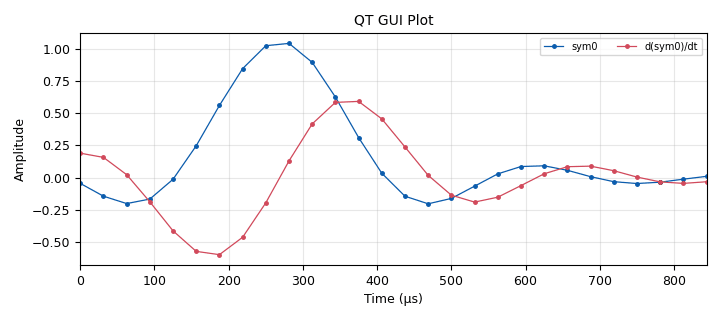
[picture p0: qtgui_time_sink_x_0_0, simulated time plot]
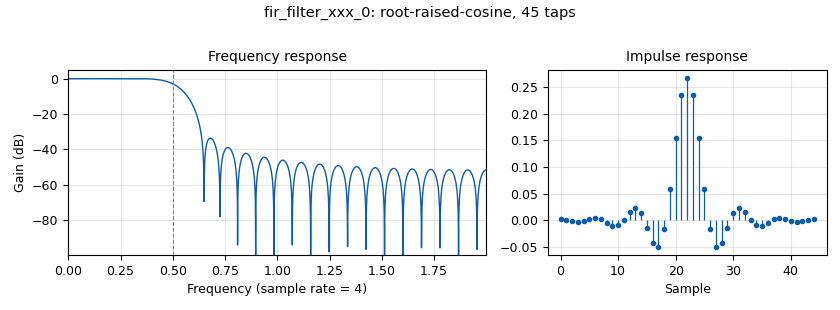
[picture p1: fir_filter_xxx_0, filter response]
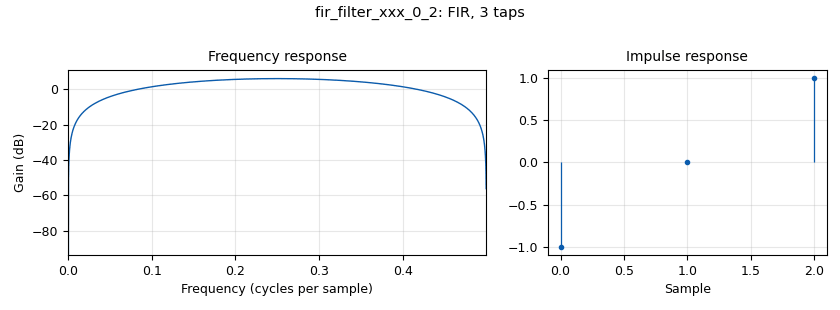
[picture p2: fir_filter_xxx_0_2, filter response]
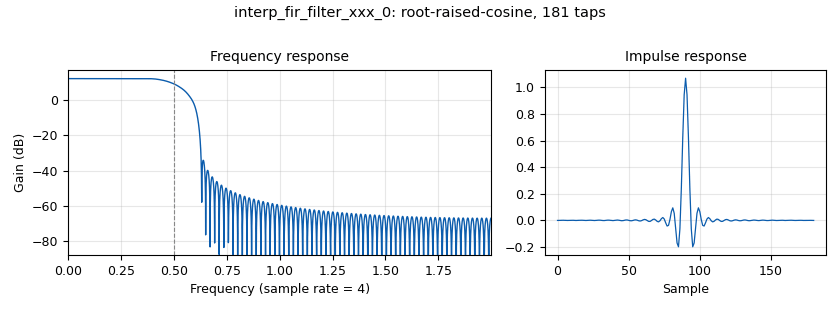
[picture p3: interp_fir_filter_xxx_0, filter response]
<?xml version='1.0' encoding='utf-8'?>
<?grc format='1' created='3.7.10'?>
<flow_graph>
<block>
<key>options</key>
<param><key>id</key><value>symbol_differential_filter</value></param>
<param><key>author</key><value>Alexandros-Apostolos A. Boulogeorgos</value></param>
<param><key>generate_options</key><value>qt_gui</value></param>
<param><key>title</key><value>Symbol differential filter</value></param>
</block>
<block>
<key>variable</key>
<param><key>id</key><value>eb</value></param>
<param><key>value</key><value>0.25</value></param>
</block>
<block>
<key>variable</key>
<param><key>id</key><value>ntaps</value></param>
<param><key>value</key><value>45</value></param>
</block>
<block>
<key>variable</key>
<param><key>id</key><value>rate</value></param>
<param><key>value</key><value>1.2</value></param>
</block>
<block>
<key>variable</key>
<param><key>id</key><value>rrc_rx</value></param>
<param><key>value</key><value>firdes.root_raised_cosine(1.0, sps, 1, eb, ntaps)</value></param>
</block>
<block>
<key>variable</key>
<param><key>id</key><value>rrc_tx</value></param>
<param><key>value</key><value>firdes.root_raised_cosine(sps, sps, 1, eb, sps*ntaps)</value></param>
</block>
<block>
<key>variable</key>
<param><key>id</key><value>samp_rate</value></param>
<param><key>value</key><value>32000</value></param>
</block>
<block>
<key>variable</key>
<param><key>id</key><value>sps</value></param>
<param><key>value</key><value>4</value></param>
</block>
<block>
<key>variable_qtgui_range</key>
<param><key>id</key><value>stop_band_attenuation</value></param>
<param><key>value</key><value>100</value></param>
<param><key>gui_hint</key><value>0,0,1,1</value></param>
<param><key>label</key><value>Stop Band Attenuation</value></param>
<param><key>orient</key><value>Qt.Horizontal</value></param>
<param><key>start</key><value>1</value></param>
<param><key>step</key><value>10</value></param>
<param><key>stop</key><value>1000</value></param>
</block>
<block>
<key>blocks_delay</key>
<param><key>id</key><value>blocks_delay_0_0</value></param>
<param><key>delay</key><value>1</value></param>
<param><key>type</key><value>float</value></param>
</block>
<block>
<key>blocks_throttle</key>
<param><key>id</key><value>blocks_throttle_0</value></param>
<param><key>samples_per_second</key><value>samp_rate</value></param>
<param><key>type</key><value>float</value></param>
</block>
<block>
<key>blocks_vector_source_x</key>
<param><key>id</key><value>blocks_vector_source_x_0</value></param>
<param><key>type</key><value>float</value></param>
<param><key>repeat</key><value>True</value></param>
<param><key>vector</key><value>49*[0,] + [1,] + 50*[0,]</value></param>
</block>
<block>
<key>fir_filter_xxx</key>
<param><key>id</key><value>fir_filter_xxx_0</value></param>
<param><key>decim</key><value>1</value></param>
<param><key>taps</key><value>rrc_rx</value></param>
<param><key>type</key><value>fff</value></param>
</block>
<block>
<key>fir_filter_xxx</key>
<param><key>id</key><value>fir_filter_xxx_0_2</value></param>
<param><key>decim</key><value>1</value></param>
<param><key>taps</key><value>[-1, 0, 1]</value></param>
<param><key>type</key><value>fff</value></param>
</block>
<block>
<key>import</key>
<param><key>id</key><value>import_math</value></param>
<param><key>import</key><value>import math</value></param>
</block>
<block>
<key>interp_fir_filter_xxx</key>
<param><key>id</key><value>interp_fir_filter_xxx_0</value></param>
<param><key>interp</key><value>sps</value></param>
<param><key>taps</key><value>rrc_tx</value></param>
<param><key>type</key><value>fff</value></param>
</block>
<block>
<key>pfb_arb_resampler_xxx</key>
<param><key>id</key><value>pfb_arb_resampler_xxx_0_0_1</value></param>
<param><key>nfilts</key><value>32</value></param>
<param><key>rrate</key><value>rate</value></param>
<param><key>atten</key><value>stop_band_attenuation</value></param>
<param><key>type</key><value>fff</value></param>
</block>
<block>
<key>qtgui_time_sink_x</key>
<param><key>id</key><value>qtgui_time_sink_x_0_0</value></param>
<param><key>autoscale</key><value>True</value></param>
<param><key>gui_hint</key><value>1,0,1,1</value></param>
<param><key>grid</key><value>True</value></param>
<param><key>color1</key><value>"blue"</value></param>
<param><key>label1</key><value>sym0</value></param>
<param><key>marker1</key><value>0</value></param>
<param><key>width1</key><value>2</value></param>
<param><key>color2</key><value>"red"</value></param>
<param><key>label2</key><value>d(sym0)/dt</value></param>
<param><key>marker2</key><value>0</value></param>
<param><key>width2</key><value>2</value></param>
<param><key>name</key><value>QT GUI Plot</value></param>
<param><key>nconnections</key><value>2</value></param>
<param><key>size</key><value>7*sps</value></param>
<param><key>srate</key><value>samp_rate</value></param>
<param><key>tr_delay</key><value>0.00005*sps</value></param>
<param><key>tr_level</key><value>0.8</value></param>
<param><key>tr_mode</key><value>qtgui.TRIG_MODE_NORM</value></param>
<param><key>type</key><value>float</value></param>
<param><key>update_time</key><value>0.01</value></param>
<param><key>ymax</key><value>1.25</value></param>
<param><key>ymin</key><value>-0.5</value></param>
</block>
<connection><source_block_id>blocks_delay_0_0</source_block_id><sink_block_id>qtgui_time_sink_x_0_0</sink_block_id><source_key>0</source_key><sink_key>0</sink_key></connection>
<connection><source_block_id>blocks_throttle_0</source_block_id><sink_block_id>interp_fir_filter_xxx_0</sink_block_id><source_key>0</source_key><sink_key>0</sink_key></connection>
<connection><source_block_id>blocks_vector_source_x_0</source_block_id><sink_block_id>blocks_throttle_0</sink_block_id><source_key>0</source_key><sink_key>0</sink_key></connection>
<connection><source_block_id>fir_filter_xxx_0</source_block_id><sink_block_id>blocks_delay_0_0</sink_block_id><source_key>0</source_key><sink_key>0</sink_key></connection>
<connection><source_block_id>fir_filter_xxx_0</source_block_id><sink_block_id>fir_filter_xxx_0_2</sink_block_id><source_key>0</source_key><sink_key>0</sink_key></connection>
<connection><source_block_id>fir_filter_xxx_0_2</source_block_id><sink_block_id>qtgui_time_sink_x_0_0</sink_block_id><source_key>0</source_key><sink_key>1</sink_key></connection>
<connection><source_block_id>interp_fir_filter_xxx_0</source_block_id><sink_block_id>pfb_arb_resampler_xxx_0_0_1</sink_block_id><source_key>0</source_key><sink_key>0</sink_key></connection>
<connection><source_block_id>pfb_arb_resampler_xxx_0_0_1</source_block_id><sink_block_id>fir_filter_xxx_0</sink_block_id><source_key>0</source_key><sink_key>0</sink_key></connection>
</flow_graph>
